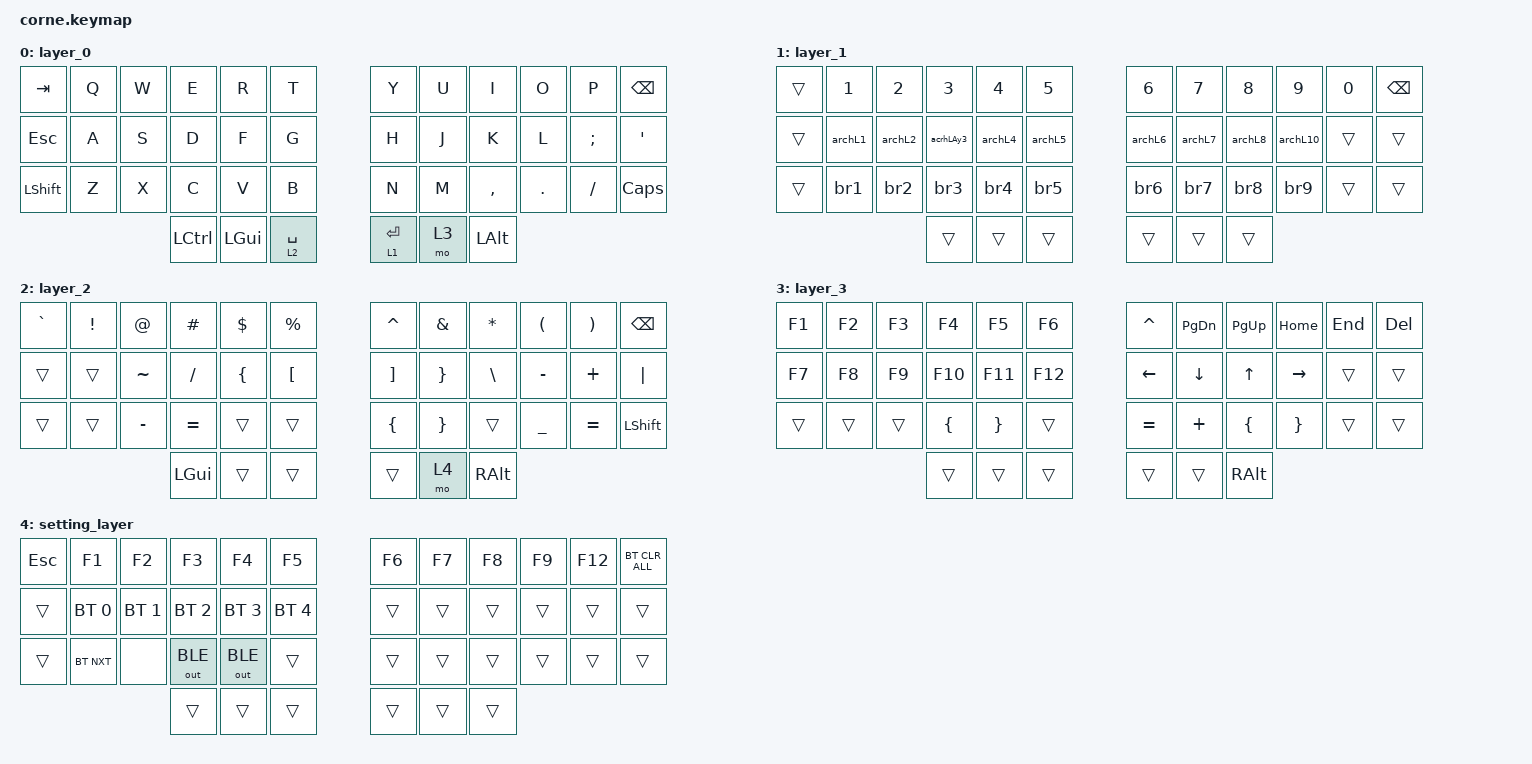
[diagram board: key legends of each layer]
/*
 * Copyright (c) 2020 The ZMK Contributors
 *
 * SPDX-License-Identifier: MIT
 */

#include <behaviors.dtsi>
#include <dt-bindings/zmk/bt.h>
#include <dt-bindings/zmk/keys.h>
#include <dt-bindings/zmk/outputs.h>

/ {
    behaviors {
        hm: homerow_mods {
            compatible = "zmk,behavior-hold-tap";
            #binding-cells = <2>;
            flavor = "tap-preferred";
            tapping-term-ms = <400>;
            quick-tap-ms = <0>;
            require-prior-idle-ms = <125>;
            bindings = <&kp>, <&kp>;
        };
    };

    kscan: kscan {
        compatible = "zmk,kscan-gpio-matrix";
        diode-direction = "col2row";
        wakeup-source;
    };

    macros {
        archL1: new_macro {
            compatible = "zmk,behavior-macro";
            #binding-cells = <0>;
            bindings = <&sk LEFT_WIN &kp NUMBER_1>;
            label = "NEW_MACRO";
        };

        archL2: archL2 {
            compatible = "zmk,behavior-macro";
            #binding-cells = <0>;
            bindings = <&sk LEFT_WIN &kp NUMBER_2>;
            label = "ARCHL2";
        };

        archL4: archL3 {
            compatible = "zmk,behavior-macro";
            #binding-cells = <0>;
            bindings = <&sk LEFT_WIN &kp NUMBER_4>;
            label = "ARCHL3";
        };

        archL5: archL5 {
            compatible = "zmk,behavior-macro";
            #binding-cells = <0>;
            bindings = <&sk LEFT_WIN &kp N5>;
            label = "ARCHL5";
        };

        archL6: archL6 {
            compatible = "zmk,behavior-macro";
            #binding-cells = <0>;
            bindings = <&sk LEFT_WIN &kp NUMBER_6>;
            label = "ARCHL6";
        };

        archL7: archL7 {
            compatible = "zmk,behavior-macro";
            #binding-cells = <0>;
            bindings = <&sk LEFT_WIN &kp N7>;
            label = "ARCHL7";
        };

        archL8: archL8 {
            compatible = "zmk,behavior-macro";
            #binding-cells = <0>;
            bindings = <&sk LEFT_WIN &kp NUMBER_8>;
            label = "ARCHL8";
        };

        archL10: archL10 {
            compatible = "zmk,behavior-macro";
            #binding-cells = <0>;
            bindings = <&sk LEFT_WIN &kp NUMBER_9>;
            label = "ARCHL10";
        };

        acrhLAy3: ssswwq {
            compatible = "zmk,behavior-macro";
            #binding-cells = <0>;
            bindings = <&sk LEFT_WIN &kp NUMBER_3>;
            label = "SSSWWQ";
        };

        br1: br1 {
            compatible = "zmk,behavior-macro";
            #binding-cells = <0>;
            bindings = <&sk LEFT_ALT &kp NUMBER_1>;
            label = "BR1";
        };

        br2: br2 {
            compatible = "zmk,behavior-macro";
            #binding-cells = <0>;
            bindings = <&sk LEFT_ALT &kp NUMBER_2>;
            label = "BR2";
        };

        br3: br3 {
            compatible = "zmk,behavior-macro";
            #binding-cells = <0>;
            bindings = <&sk LEFT_ALT &kp NUMBER_3>;
            label = "BR3";
        };

        br4: br4 {
            compatible = "zmk,behavior-macro";
            #binding-cells = <0>;
            bindings = <&sk LEFT_ALT &kp NUMBER_4>;
            label = "BR4";
        };

        br5: br5 {
            compatible = "zmk,behavior-macro";
            #binding-cells = <0>;
            bindings = <&sk LEFT_ALT &kp N5>;
            label = "BR5";
        };

        br6: br6 {
            compatible = "zmk,behavior-macro";
            #binding-cells = <0>;
            bindings = <&sk LEFT_ALT &kp NUMBER_6>;
            label = "BR6";
        };

        br7: br7 {
            compatible = "zmk,behavior-macro";
            #binding-cells = <0>;
            bindings = <&sk LEFT_ALT &kp N7>;
            label = "BR7";
        };

        br8: br8 {
            compatible = "zmk,behavior-macro";
            #binding-cells = <0>;
            bindings = <&sk LEFT_ALT &kp N8>;
            label = "BR8";
        };

        br9: br9 {
            compatible = "zmk,behavior-macro";
            #binding-cells = <0>;
            bindings = <&sk LEFT_ALT &kp N9>;
            label = "BR9";
        };
    };

    keymap {
        compatible = "zmk,keymap";

        layer_0 {
            // -----------------------------------------------------------------------------------------
            // |  TAB |  Q  |  W  |  E  |  R  |  T  |   |  Y  |  U   |  I  |  O  |  P  | BKSP |
            // | CTRL |  A  |  S  |  D  |  F  |  G  |   |  H  |  J   |  K  |  L  |  ;  |  '   |
            // | SHFT |  Z  |  X  |  C  |  V  |  B  |   |  N  |  M   |  ,  |  .  |  /  | ESC  |
            //                    | GUI | LWR | SPC |   | ENT | RSE  | ALT |

            bindings = <
&kp TAB         &kp Q  &kp W  &kp E      &kp R         &kp T          &kp Y        &kp U  &kp I         &kp O    &kp P     &kp BSPC
&kp ESCAPE      &kp A  &kp S  &kp D      &kp F         &kp G          &kp H        &kp J  &kp K         &kp L    &kp SEMI  &kp APOS
&kp LEFT_SHIFT  &kp Z  &kp X  &kp C      &kp V         &kp B          &kp N        &kp M  &kp COMMA     &kp DOT  &kp FSLH  &kp CLCK
                              &kp LCTRL  &kp LEFT_GUI  &lt 2 SPACE    &lt 1 ENTER  &mo 3  &kp LEFT_ALT
            >;
        };

        layer_1 {
            bindings = <
&trans  &kp N1   &kp NUMBER_2  &kp NUMBER_3  &kp NUMBER_4  &kp NUMBER_5    &kp NUMBER_6  &kp N7   &kp N8   &kp N9    &kp N0  &kp BACKSPACE
&trans  &archL1  &archL2       &acrhLAy3     &archL4       &archL5         &archL6       &archL7  &archL8  &archL10  &trans  &trans
&trans  &br1     &br2          &br3          &br4          &br5            &br6          &br7     &br8     &br9      &trans  &trans
                               &trans        &trans        &trans          &trans        &trans   &trans
            >;
        };

        layer_2 {
            // -----------------------------------------------------------------------------------------
            // |  TAB |  1  |  2  |  3  |  4  |  5  |   |  6  |  7  |  8  |  9  |  0  | BKSP |
            // | BTCLR| BT1 | BT2 | BT3 | BT4 | BT5 |   | LFT | DWN |  UP | RGT |     |      |
            // | SHFT |     |     |     |     |     |   |     |     |     |     |     |      |
            //                    | GUI |     | SPC |   | ENT |     | ALT |

            bindings = <
&kp GRAVE  &kp EXCLAMATION  &kp AT_SIGN  &kp HASH   &kp DOLLAR  &kp PRCNT    &kp CARET          &kp AMPS         &kp STAR       &kp LEFT_PARENTHESIS  &kp RIGHT_PARENTHESIS  &kp BACKSPACE
&trans     &trans           &kp TILDE    &kp SLASH  &kp LBRC    &kp LBKT     &kp RIGHT_BRACKET  &kp RIGHT_BRACE  &kp BACKSLASH  &kp MINUS             &kp PLUS               &kp PIPE
&trans     &trans           &kp MINUS    &kp EQUAL  &trans      &trans       &kp LEFT_BRACE     &kp RIGHT_BRACE  &trans         &kp UNDERSCORE        &kp EQUAL              &kp LEFT_SHIFT
                                         &kp LGUI   &trans      &trans       &trans             &mo 4            &kp RALT
            >;
        };

        layer_3 {
            // -----------------------------------------------------------------------------------------
            // |  TAB |  !  |  @  |  #  |  $  |  %  |   |  ^  |  &  |  *  |  (  |  )  | BKSP |
            // | CTRL |     |     |     |     |     |   |  -  |  =  |  [  |  ]  |  \  |  `   |
            // | SHFT |     |     |     |     |     |   |  _  |  +  |  {  |  }  | "|" |  ~   |
            //                    | GUI |     | SPC |   | ENT |     | ALT |

            bindings = <
&kp F1  &kp F2  &kp F3  &kp F4          &kp F5           &kp F6     &kp CARET  &kp PAGE_DOWN   &kp PG_UP     &kp HOME   &kp END  &kp DEL
&kp F7  &kp F8  &kp F9  &kp F10         &kp F11          &kp F12    &kp LEFT   &kp DOWN_ARROW  &kp UP_ARROW  &kp RIGHT  &trans   &trans
&trans  &trans  &trans  &kp LEFT_BRACE  &kp RIGHT_BRACE  &trans     &kp EQUAL  &kp PLUS        &kp LBRC      &kp RBRC   &trans   &trans
                        &trans          &trans           &trans     &trans     &trans          &kp RALT
            >;
        };

        setting_layer {
            bindings = <
&kp ESC  &kp F1        &kp F2        &kp F3        &kp F4        &kp F5          &kp F6  &kp F7  &kp F8  &kp F9  &kp F12  &bt BT_CLR_ALL
&trans   &bt BT_SEL 0  &bt BT_SEL 1  &bt BT_SEL 2  &bt BT_SEL 3  &bt BT_SEL 4    &trans  &trans  &trans  &trans  &trans   &trans
&trans   &bt BT_NXT    &none         &out OUT_BLE  &out OUT_BLE  &trans          &trans  &trans  &trans  &trans  &trans   &trans
                                     &trans        &trans        &trans          &trans  &trans  &trans
            >;
        };
    };
};
